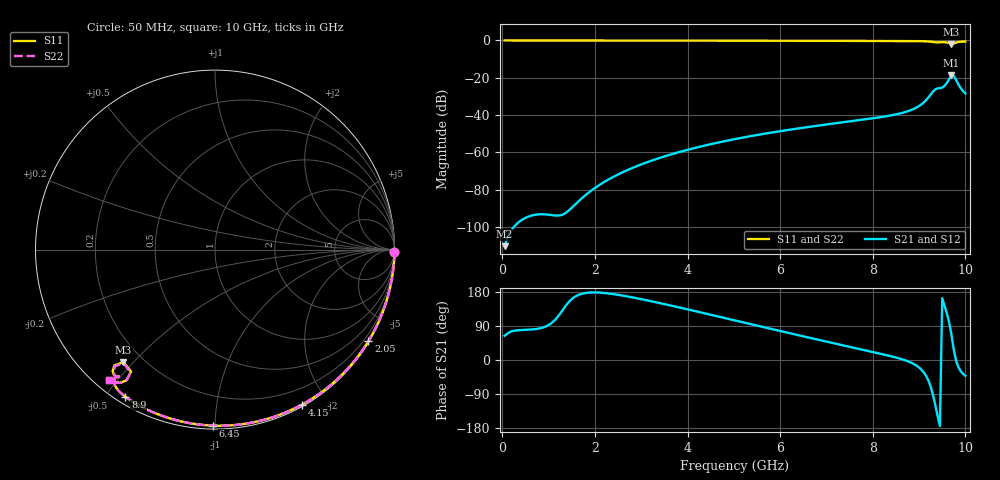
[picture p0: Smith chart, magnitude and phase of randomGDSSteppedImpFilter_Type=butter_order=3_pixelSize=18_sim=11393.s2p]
! freq	dB(S11)	phase(S11)	dB(S12)	phase(S12)
!  dB(S21)	phase(S21)	dB(S22)	phase(S22)
!S-par simulation data
#  GHz  S  DB  R 50
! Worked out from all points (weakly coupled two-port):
!   200 points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, 50 MHz to 10 GHz, reference 50 ohm
!   highest |S21| = -18.71 dB at 9.7 GHz (marker M1); lowest = -110.4 dB at 50 MHz (marker M2)
!   lowest |S11| = -1.8 dB at 9.7 GHz (marker M3), VSWR 9.43, Z = 6.49 - j23.4 ohm
!   |S11| at or under -10 dB: nowhere
!   |S22| runs from -1.8 to 0.0 dB; largest |S21 - S12| = 0
!   S11 on the Smith chart (normalised r, x): 50 MHz: open; 2.05 GHz: 0.03, -3.63; 4.15 GHz: 0.02, -1.71; 6.45 GHz: 0.02, -0.99; 8.9 GHz: 0.03, -0.56; 10 GHz: 0.04, -0.48
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0.05  -0.00 -0.8  -110.38 64.0  -110.38 64.0  -0.00 -0.8
1.75  -0.03 -26.4  -83.98 175.7  -83.98 175.7  -0.03 -26.4
1.95  -0.04 -29.3  -80.04 178.3  -80.04 178.3  -0.04 -29.3
2.05  -0.04 -30.8  -78.30 178.2  -78.30 178.2  -0.04 -30.8
2.65  -0.05 -39.6  -70.12 168.9  -70.12 168.9  -0.05 -39.6
3.4  -0.07 -50.3  -63.01 150.2  -63.01 150.2  -0.07 -50.2
4.15  -0.08 -60.7  -57.72 129.4  -57.72 129.4  -0.08 -60.7
5.05  -0.11 -72.8  -52.79 103.7  -52.79 103.7  -0.11 -72.7
6.45  -0.17 -90.7  -46.99 63.8  -46.99 63.8  -0.17 -90.7
6.7  -0.18 -93.8  -46.11 56.8  -46.11 56.8  -0.18 -93.8
8.35  -0.29 -114.1  -40.41 11.2  -40.41 11.2  -0.29 -114.1
8.65  -0.32 -117.9  -38.78 1.2  -38.78 1.2  -0.32 -117.9
8.9  -0.36 -121.3  -36.55 -11.6  -36.55 -11.6  -0.36 -121.4
9.1  -0.43 -124.5  -33.27 -32.6  -33.27 -32.6  -0.43 -124.6
9.35  -0.98 -127.8  -26.24 -119.1  -26.24 -119.1  -1.01 -127.8
9.55  -0.94 -128.9  -24.39 143.1  -24.39 143.1  -0.95 -128.6
9.65  -1.37 -131.0  -20.66 99.2  -20.66 99.2  -1.35 -130.6
9.7  -1.85 -129.1  -18.71 65.8  -18.71 65.8  -1.80 -128.8
9.75  -1.68 -124.5  -18.99 26.5  -18.99 26.5  -1.62 -124.5
9.8  -1.11 -124.1  -21.27 -2.1  -21.27 -2.1  -1.08 -124.1
9.9  -0.68 -126.8  -25.65 -29.6  -25.65 -29.6  -0.67 -126.9
10  -0.58 -129.1  -28.46 -41.8  -28.46 -41.8  -0.57 -129.1
